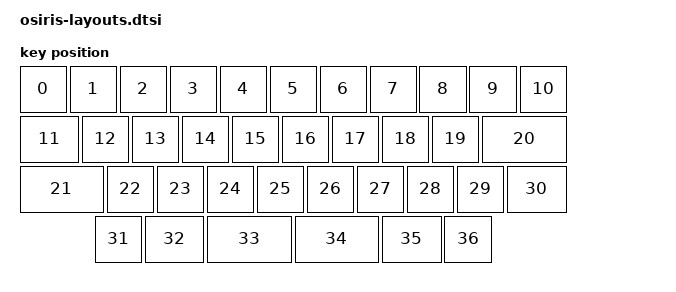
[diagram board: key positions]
#include <physical_layouts.dtsi>

/ {
    physical_layout_osiris: physical_layout_osiris {
        compatible = "zmk,physical-layout";
        display-name = "Osiris";
        keys  //                     w   h    x    y     rot    rx    ry
            = <&key_physical_attrs 100 100    0    0       0     0     0>
            , <&key_physical_attrs 100 100  100    0       0   100     0>
            , <&key_physical_attrs 100 100  200    0       0   200     0>
            , <&key_physical_attrs 100 100  300    0       0   300     0>
            , <&key_physical_attrs 100 100  400    0       0   400     0>
            , <&key_physical_attrs 100 100  500    0       0   500     0>
            , <&key_physical_attrs 100 100  600    0       0   600     0>
            , <&key_physical_attrs 100 100  700    0       0   700     0>
            , <&key_physical_attrs 100 100  800    0       0   800     0>
            , <&key_physical_attrs 100 100  900    0       0   900     0>
            , <&key_physical_attrs 100 100 1000    0       0  1000     0>
            , <&key_physical_attrs 125 100    0  100       0     0   100>
            , <&key_physical_attrs 100 100  125  100       0   125   100>
            , <&key_physical_attrs 100 100  225  100       0   225   100>
            , <&key_physical_attrs 100 100  325  100       0   325   100>
            , <&key_physical_attrs 100 100  425  100       0   425   100>
            , <&key_physical_attrs 100 100  525  100       0   525   100>
            , <&key_physical_attrs 100 100  625  100       0   625   100>
            , <&key_physical_attrs 100 100  725  100       0   725   100>
            , <&key_physical_attrs 100 100  825  100       0   825   100>
            , <&key_physical_attrs 175 100  925  100       0   925   100>
            , <&key_physical_attrs 175 100    0  200       0     0   200>
            , <&key_physical_attrs 100 100  175  200       0   175   200>
            , <&key_physical_attrs 100 100  275  200       0   275   200>
            , <&key_physical_attrs 100 100  375  200       0   375   200>
            , <&key_physical_attrs 100 100  475  200       0   475   200>
            , <&key_physical_attrs 100 100  575  200       0   575   200>
            , <&key_physical_attrs 100 100  675  200       0   675   200>
            , <&key_physical_attrs 100 100  775  200       0   775   200>
            , <&key_physical_attrs 100 100  875  200       0   875   200>
            , <&key_physical_attrs 125 100  975  200       0   975   200>
            , <&key_physical_attrs 100 100  150  300       0   150   300>
            , <&key_physical_attrs 125 100  250  300       0   250   300>
            , <&key_physical_attrs 175 100  375  300       0   375   300>
            , <&key_physical_attrs 175 100  550  300       0   550   300>
            , <&key_physical_attrs 125 100  725  300       0   725   300>
            , <&key_physical_attrs 100 100  850  300       0   850   300>
            ;
    };
};
